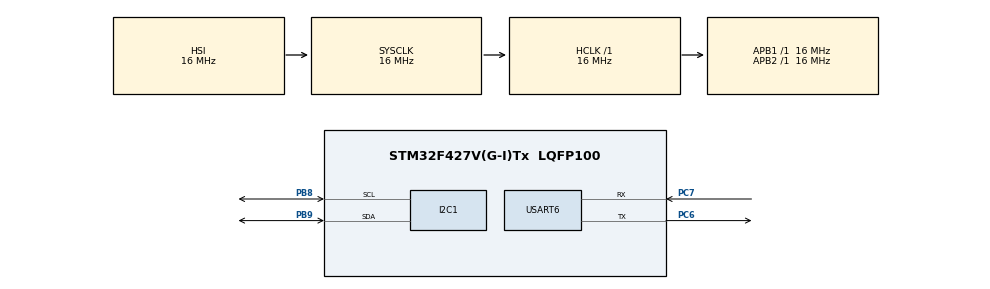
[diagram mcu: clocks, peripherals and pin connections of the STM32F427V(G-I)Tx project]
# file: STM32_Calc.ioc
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Mcu.Family=STM32F4
Mcu.Name=STM32F427V(G-I)Tx
Mcu.Package=LQFP100
NVIC.PriorityGroup=NVIC_PRIORITYGROUP_4
PA13.Mode=JTAG_5_pins
PA13.Signal=SYS_JTMS-SWDIO
PA14.Mode=JTAG_5_pins
PA14.Signal=SYS_JTCK-SWCLK
PA15.Mode=JTAG_5_pins
PA15.Signal=SYS_JTDI
PB3.Mode=JTAG_5_pins
PB3.Signal=SYS_JTDO-SWO
PB4.Mode=JTAG_5_pins
PB4.Signal=SYS_JTRST
PB8.GPIO_Pu=GPIO_PULLUP
PB8.Mode=I2C
PB8.Signal=I2C1_SCL
PB9.GPIO_Pu=GPIO_PULLUP
PB9.Mode=I2C
PB9.Signal=I2C1_SDA
PC6.Mode=Asynchronous
PC6.Signal=USART6_TX
PC7.Mode=Asynchronous
PC7.Signal=USART6_RX
PH0/OSC_IN.Mode=HSE-External-Oscillator
PH0/OSC_IN.Signal=RCC_OSC_IN
PH1/OSC_OUT.Mode=HSE-External-Oscillator
PH1/OSC_OUT.Signal=RCC_OSC_OUT
ProjectManager.HeapSize=0x200
ProjectManager.StackSize=0x400
ProjectManager.TargetToolchain=STM32CubeIDE
RCC.AHBFreq_Value=16000000
RCC.APB1Freq_Value=16000000
RCC.APB2Freq_Value=16000000
RCC.CortexFreq_Value=16000000
RCC.HSE_VALUE=25000000
RCC.HSI_VALUE=16000000
RCC.LSE_VALUE=32768
RCC.SYSCLKFreq_VALUE=16000000
RCC.VCOOutputFreq_Value=192000000
USART6.VirtualMode=VM_ASYNC
board=custom

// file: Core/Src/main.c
/* USER CODE BEGIN Header */
/**
  ******************************************************************************
  * @file           : main.c
  * @brief          : Main program body
  ******************************************************************************
  * @attention
  *
  * Copyright (c) 2023 STMicroelectronics.
  * All rights reserved.
  *
  * This software is licensed under terms that can be found in the LICENSE file
  * in the root directory of this software component.
  * If no LICENSE file comes with this software, it is provided AS-IS.
  *
  ******************************************************************************
  */
/* USER CODE END Header */
#include <sdk_uart.h>
#include "main.h"
#include "i2c.h"
#include "usart.h"
#include "gpio.h"

/* USER CODE BEGIN Includes */
#include <stdio.h>

#include "oled.h"
#include "kb.h"
#include "calc.h"
/* USER CODE END Includes */

void SystemClock_Config(void);

int main(void)
{

  /* MCU Configuration--------------------------------------------------------*/

  /* Reset of all peripherals, Initializes the Flash interface and the Systick. */
  HAL_Init();

  /* Configure the system clock */
  SystemClock_Config();

  /* Initialize all configured peripherals */
  MX_GPIO_Init();
  MX_USART6_UART_Init();
  MX_I2C1_Init();
  /* USER CODE BEGIN 2 */
  oled_Init();

  struct calculator_i calc = {
  		.buf = {0},
  		.cur = 0,
  		.last = 0,
  		.layout = 0
  	};

  /* USER CODE END 2 */

  /* Infinite loop */
  while (1)
  {

    /* USER CODE BEGIN 3 */

	oled_Reset();
	oled_WriteString(calc.layout == 1 ? "Calculator    2ndf" : "Calculator", Font_7x10, WHITE);
	oled_NextLine(Font_7x10);

	oled_WriteString(calc.buf, Font_7x10, WHITE);
	oled_UpdateScreen();
	HAL_Delay(250);

	uint8_t Key = 0;
	while(!(Key)) {
	  Key = Scan_KB();
	}
	calc_Call_Action(&calc, Key-1);
	/* USER CODE END 3 */
  }
}

void SystemClock_Config(void)
{
  RCC_OscInitTypeDef RCC_OscInitStruct = {0};
  RCC_ClkInitTypeDef RCC_ClkInitStruct = {0};

  /** Configure the main internal regulator output voltage
  */
  __HAL_RCC_PWR_CLK_ENABLE();
  __HAL_PWR_VOLTAGESCALING_CONFIG(PWR_REGULATOR_VOLTAGE_SCALE3);

  /** Initializes the RCC Oscillators according to the specified parameters
  * in the RCC_OscInitTypeDef structure.
  */
  RCC_OscInitStruct.OscillatorType = RCC_OSCILLATORTYPE_HSI;
  RCC_OscInitStruct.HSIState = RCC_HSI_ON;
  RCC_OscInitStruct.HSICalibrationValue = RCC_HSICALIBRATION_DEFAULT;
  RCC_OscInitStruct.PLL.PLLState = RCC_PLL_NONE;
  if (HAL_RCC_OscConfig(&RCC_OscInitStruct) != HAL_OK)
  {
    Error_Handler();
  }

  /** Initializes the CPU, AHB and APB buses clocks
  */
  RCC_ClkInitStruct.ClockType = RCC_CLOCKTYPE_HCLK|RCC_CLOCKTYPE_SYSCLK
                              |RCC_CLOCKTYPE_PCLK1|RCC_CLOCKTYPE_PCLK2;
  RCC_ClkInitStruct.SYSCLKSource = RCC_SYSCLKSOURCE_HSI;
  RCC_ClkInitStruct.AHBCLKDivider = RCC_SYSCLK_DIV1;
  RCC_ClkInitStruct.APB1CLKDivider = RCC_HCLK_DIV1;
  RCC_ClkInitStruct.APB2CLKDivider = RCC_HCLK_DIV1;

  if (HAL_RCC_ClockConfig(&RCC_ClkInitStruct, FLASH_LATENCY_0) != HAL_OK)
  {
    Error_Handler();
  }
}

void Error_Handler(void)
{
  __disable_irq();
  while (1)
  {
  }
}
